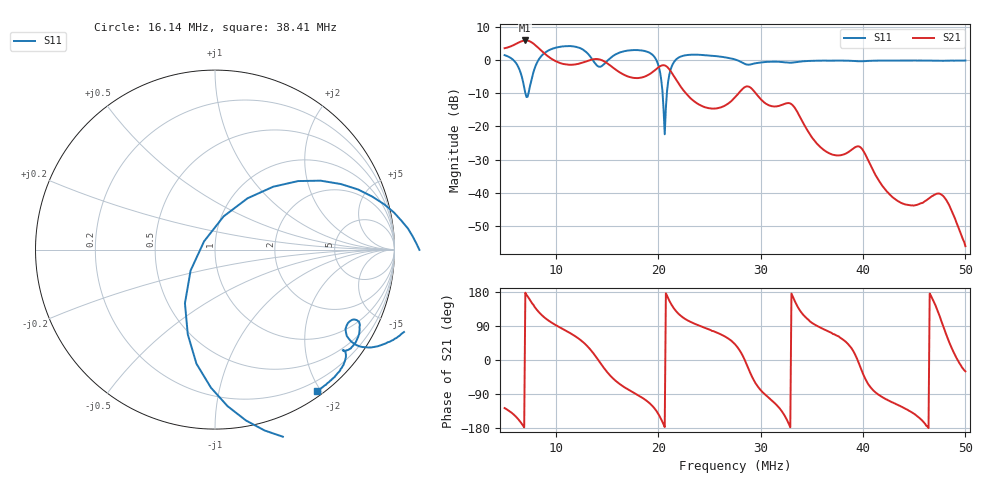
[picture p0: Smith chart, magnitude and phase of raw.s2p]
! S11/S21 only; reverse parameters are placeholders. Device calibration unverified.
! NanoVNA F V2 profile | COM3 | 2026-09-08T11:09:26.1341142-04:00 | device calibration unverified
# HZ S RI R 50
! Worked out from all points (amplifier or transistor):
!   401 points, 5 MHz to 50 MHz, reference 50 ohm
!   highest |S21| = 5.8 dB at 7.025 MHz (marker M1)
!   |S21| within 3 dB of that: start of sweep to 8.566 MHz
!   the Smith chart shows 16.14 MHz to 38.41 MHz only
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5000000  1.158 -0.202  -0.8974 -1.196  0 0  0 0
6125000  0.7328 -0.5052  -1.51 -0.8683  0 0  0 0
7025000  0.277 -0.1543  -1.953 0.0808  0 0  0 0
7362500  0.3097 0.1164  -1.839 0.5576  0 0  0 0
8262500  0.4536 -0.8561  -0.9583 1.192  0 0  0 0
1.0625e7  -0.1977 -1.576  0.113 0.8689  0 0  0 0
1.25375e7  -1.093 -0.9619  0.5791 0.69  0 0  0 0
1.34375e7  -1.08 0.0642  0.9028 0.4313  0 0  0 0
1.43375e7  -0.0489 0.7863  0.9997 -0.1303  0 0  0 0
1.61375e7  1.266 -0.0842  0.3189 -0.5818  0 0  0 0
1.85e7  1.001 -0.9416  -0.1007 -0.5395  0 0  0 0
2.0075e7  -0.0224 -0.7697  -0.6428 -0.4446  0 0  0 0
2.06375e7  -0.0607 0.0463  -0.8245 -0.0437  0 0  0 0
2.12e7  0.5884 0.3841  -0.5939 0.3339  0 0  0 0
2.26625e7  1.167 -0.1006  -0.098 0.305  0 0  0 0
2.75e7  0.8518 -0.5454  0.2045 0.1815  0 0  0 0
2.9525e7  0.7963 -0.398  0.1471 -0.2778  0 0  0 0
3.50375e7  0.6996 -0.6656  -0.0089 0.0671  0 0  0 0
3.97625e7  0.5197 -0.797  0.0456 -0.0168  0 0  0 0
4.2575e7  0.4358 -0.8732  -0.00295 -0.00918  0 0  0 0
4.76375e7  0.2442 -0.9366  -0.00225 0.00925  0 0  0 0
5e7  0.1619 -0.9618  0.00138 -0.000797  0 0  0 0
